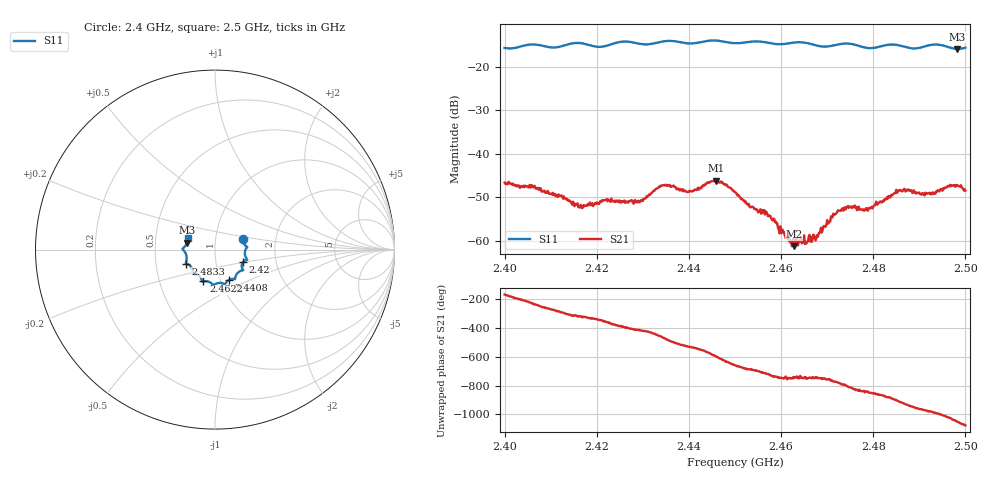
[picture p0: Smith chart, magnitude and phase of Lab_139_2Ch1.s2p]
# Hz S RI R 50
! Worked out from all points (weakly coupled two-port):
!   601 points, 2.4 GHz to 2.5 GHz, reference 50 ohm
!   highest |S21| = -46.17 dB at 2.4458 GHz (marker M1); lowest = -61.2 dB at 2.4628 GHz (marker M2)
!   lowest |S11| = -15.9 dB at 2.4982 GHz (marker M3), VSWR 1.38, Z = 36.4 + j2.91 ohm
!   |S11| at or under -10 dB: start of sweep to end of sweep
!   S12 and S22 are empty: the file has one direction only
!   S11 on the Smith chart (normalised r, x): 2.4 GHz: 1.35, +0.16; 2.42 GHz: 1.35, -0.20; 2.4408 GHz: 1.09, -0.39; 2.4622 GHz: 0.83, -0.30; 2.4833 GHz: 0.71, -0.12; 2.5 GHz: 0.73, +0.10
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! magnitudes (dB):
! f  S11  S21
! 2.4 GHz  -15.6  -46.6
! 2.406 GHz  -14.8  -47.4
! 2.4167 GHz  -14.6  -52.0
! 2.42 GHz  -15.4  -51.1
! 2.4292 GHz  -14.7  -51.1
! 2.4333 GHz  -14.4  -47.8
! 2.4408 GHz  -14.6  -48.5
! 2.4458 GHz  -13.9  -46.2
! 2.45 GHz  -14.6  -48.7
! 2.453 GHz  -14.3  -51.5
! 2.4572 GHz  -14.4  -54.3
! 2.4622 GHz  -14.5  -59.9
! 2.4628 GHz  -14.4  -61.2
! 2.4667 GHz  -14.8  -60.2
! 2.4678 GHz  -15.1  -58.6
! 2.4728 GHz  -14.7  -53.1
! 2.4783 GHz  -15.6  -52.6
! 2.4833 GHz  -14.9  -49.7
! 2.4855 GHz  -15.0  -48.4
! 2.4928 GHz  -14.9  -48.9
! 2.4982 GHz  -15.9  -47.1
! 2.5 GHz  -15.6  -48.4
